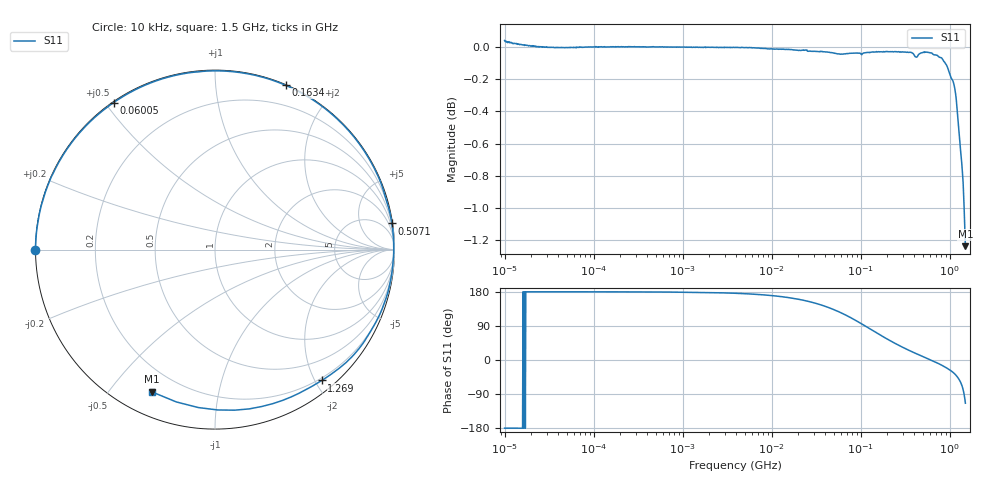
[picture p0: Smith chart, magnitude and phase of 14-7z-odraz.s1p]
#  HZ  S  DB  R  50.00
! Rohde & Schwarz Vector Network Analyzer
! Rohde-Schwarz,ZNB8-4Port,1334333044101560,3.32
! Created: UTC 3/21/2023, 5:28:15 PM
! freq[Hz]  db:S11  ang:S11
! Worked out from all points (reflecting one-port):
!   1001 points, 10 kHz to 1.5 GHz, reference 50 ohm
!   lowest |S11| = -1.2 dB at 1.5 GHz (marker M1), VSWR 14.06, Z = 5.04 - j32.2 ohm
!   phase of S11 starts at -180 deg and turns -294 deg over the sweep
!   S11 on the Smith chart (normalised r, x): 10 kHz: -0.00, -0.00; 60.05 MHz: 0.00, +0.52; 163.4 MHz: 0.01, +1.52; 507.1 MHz: 0, +14; 1.269 GHz: 0.16, -2.10; 1.5 GHz: 0.10, -0.64
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10000  0.04 -179.9
44362.03  -0.00 180.0
196799  0.00 179.8
873040.2  0.00 179.1
3872983  -0.00 176.1
8920147  -0.01 171.1
1.718134e7  -0.02 163.0
2.515892e7  -0.03 155.3
3.51255e7  -0.03 146.0
4.620326e7  -0.03 136.1
6.005465e7  -0.04 124.6
7.621991e7  -0.04 112.4
9.333875e7  -0.04 100.9
1.129482e8  -0.03 89.5
1.350582e8  -0.03 78.5
1.634324e8  -0.03 66.8
2.364815e8  -0.03 45.4
3.38127e8  -0.03 27.0
5.070689e8  -0.03 8.4
7.079417e8  -0.05 -6.7
9.201773e8  -0.11 -20.8
1.113497e9  -0.23 -34.5
1.19604e9  -0.35 -42.2
1.26948e9  -0.53 -50.8
1.315692e9  -0.63 -57.3
1.363586e9  -0.72 -65.8
1.413223e9  -0.84 -77.8
1.5e9  -1.24 -114.0
